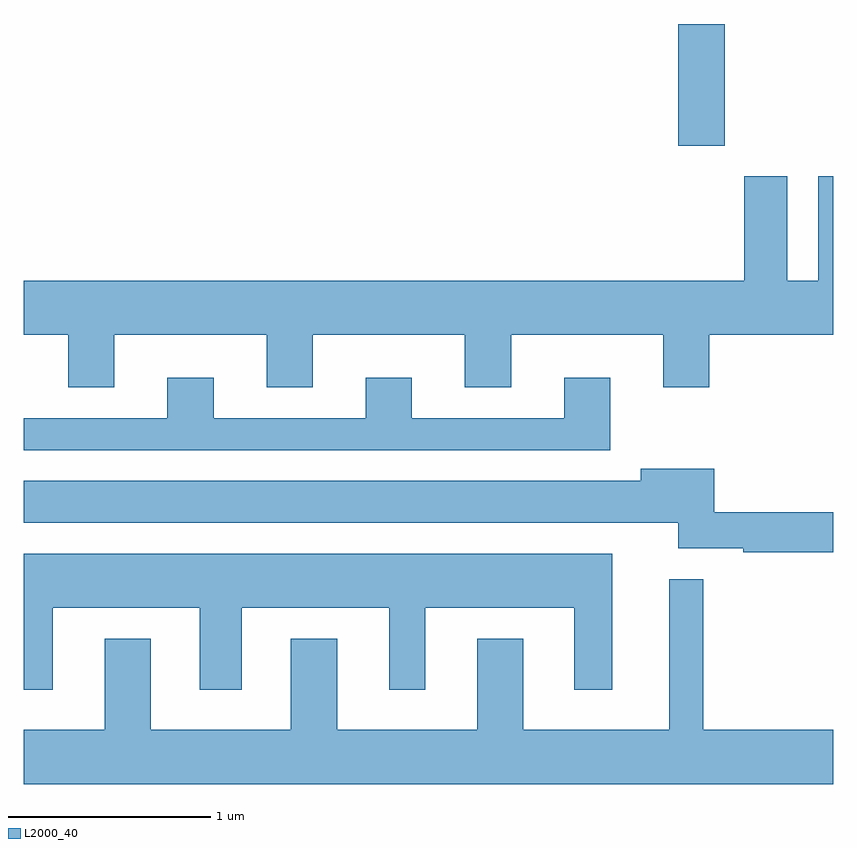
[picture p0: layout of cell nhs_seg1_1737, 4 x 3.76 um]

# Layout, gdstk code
import gdstk
lib = gdstk.Library(unit=1e-6, precision=1e-09)
def R(c, l, rs):  # rectangles x0, y0, x1, y1
    for r in rs: c.add(gdstk.rectangle(r[:2], r[2:], *l))
def P(c, l, *ps):  # polygons
    for p in ps: c.add(gdstk.Polygon(p, *l))
L2000_40 = (2000, 40)

nhs_seg1_1737 = lib.new_cell('nhs_seg1_1737')
R(nhs_seg1_1737, L2000_40, [(240.846,967.111,241.074,967.712)])
P(nhs_seg1_1737, L2000_40, [(238.059,966.176),(238.811,966.176),(238.811,965.916),(239.039,965.916),(239.039,966.176),(239.791,966.176),(239.791,965.916),(240.019,965.916),(240.019,966.176),(240.771,966.176),(240.771,965.916),(240.999,965.916),(240.999,966.176),(241.611,966.176),(241.611,966.959),(241.536,966.959),(241.536,966.444),(241.384,966.444),(241.384,966.959),(241.171,966.959),(241.171,966.444),(237.611,966.444),(237.611,966.176),(237.831,966.176),(237.831,965.916),(238.059,965.916)],
  [(240.509,965.964),(240.281,965.964),(240.281,965.764),(239.529,965.764),(239.529,965.964),(239.301,965.964),(239.301,965.764),(238.549,965.764),(238.549,965.964),(238.321,965.964),(238.321,965.764),(237.611,965.764),(237.611,965.606),(240.509,965.606)],
  [(241.611,965.299),(241.024,965.299),(241.024,965.514),(240.661,965.514),(240.661,965.454),(237.611,965.454),(237.611,965.246),(240.846,965.246),(240.846,965.121),(241.166,965.121),(241.166,965.101),(241.611,965.101)],
  [(237.754,964.826),(238.481,964.826),(238.481,964.421),(238.689,964.421),(238.689,964.826),(239.416,964.826),(239.416,964.421),(239.594,964.421),(239.594,964.826),(240.331,964.826),(240.331,964.421),(240.519,964.421),(240.519,965.094),(237.611,965.094),(237.611,964.421),(237.754,964.421)],
  [(241.611,964.224),(240.969,964.224),(240.969,964.968),(240.801,964.968),(240.801,964.224),(240.079,964.224),(240.079,964.674),(239.851,964.674),(239.851,964.224),(239.159,964.224),(239.159,964.674),(238.931,964.674),(238.931,964.224),(238.239,964.224),(238.239,964.674),(238.011,964.674),(238.011,964.224),(237.611,964.224),(237.611,963.956),(241.611,963.956)])

lib.write_gds('nhs_seg1_1737.gds')
